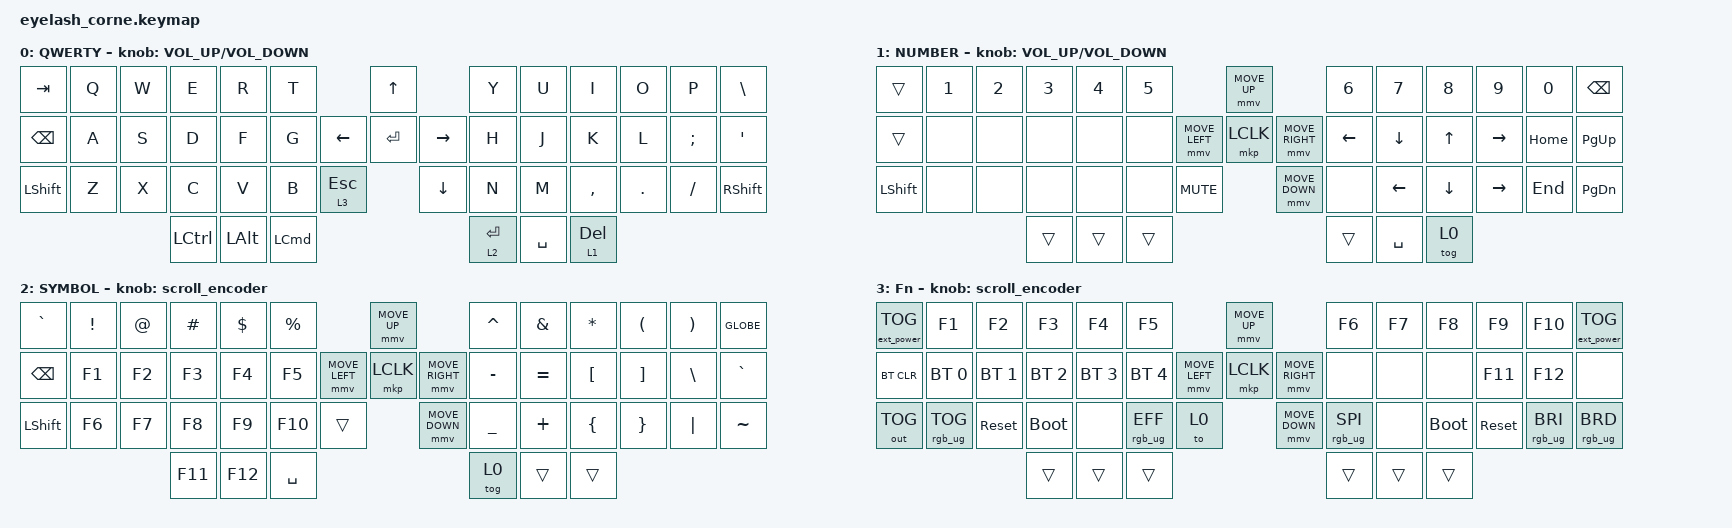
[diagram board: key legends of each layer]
#include <dt-bindings/zmk/mouse.h>
#include <input/processors.dtsi>
#include <behaviors.dtsi>
#include <dt-bindings/zmk/bt.h>
#include <dt-bindings/zmk/ext_power.h>
#include <dt-bindings/zmk/keys.h>
#include <dt-bindings/zmk/outputs.h>
#include <dt-bindings/zmk/pointing.h>
#include <dt-bindings/zmk/rgb.h>

/*

   &mmv_input_listener {
       input-processors = <&zip_xy_scaler 2 1>;
   };

   &msc_input_listener {
       input-processors = <&zip_xy_scaler 2 1>;
   };

 */

#define ZMK_MOUSE_DEFAULT_MOVE_VAL 1200  // 600
#define ZMK_MOUSE_DEFAULT_SCRL_VAL 20    // 10

/ {
    behaviors {
        td0: td0 {
            compatible = "zmk,behavior-tap-dance";
            display-name = "Shift/Caps Lock Tap Dance";
            #binding-cells = <0>;
            bindings = <&kp LEFT_SHIFT>, <&kp CAPS>;
        };

        bn: balanced_number {
            compatible = "zmk,behavior-hold-tap";
            #binding-cells = <2>;
            tapping-term-ms = <250>;
            quick-tap-ms = <0>;
            flavor = "balanced";
            bindings = <&kp>, <&kp>;
        };
    };

    rgb_encoder: rgb_encoder {
        compatible = "zmk,behavior-sensor-rotate";
        #sensor-binding-cells = <0>;
        bindings = <&rgb_ug RGB_BRI>, <&rgb_ug RGB_BRD>;
    };

    scroll_encoder: scroll_encoder {
        compatible = "zmk,behavior-sensor-rotate";
        #sensor-binding-cells = <0>;
        bindings = <&msc SCRL_DOWN>, <&msc SCRL_UP>;

        tap-ms = <30>;
    };

    behaviors {
    };

    keymap {
        compatible = "zmk,keymap";

        default_layer {
            display-name = "QWERTY";
            bindings = <
&kp TAB         &kp Q  &kp W  &kp E      &kp R         &kp T                                    &kp UP                &kp Y        &kp U      &kp I         &kp O    &kp P     &kp BACKSLASH
&kp BACKSPACE   &kp A  &kp S  &kp D      &kp F         &kp G                          &kp LEFT  &kp ENTER  &kp RIGHT  &kp H        &kp J      &kp K         &kp L    &kp SEMI  &kp SQT
&kp LEFT_SHIFT  &kp Z  &kp X  &kp C      &kp V         &kp B             &lt 3 ESC              &kp DOWN              &kp N        &kp M      &kp COMMA     &kp DOT  &kp FSLH  &kp RIGHT_SHIFT
                              &kp LCTRL  &kp LEFT_ALT  &kp LEFT_COMMAND                                               &lt 2 ENTER  &kp SPACE  &lt 1 DELETE
            >;

            sensor-bindings = <&inc_dec_kp C_VOLUME_UP C_VOLUME_DOWN>;
        };

        lower_layer {
            display-name = "NUMBER";
            bindings = <
&trans          &kp N1  &kp N2  &kp N3  &kp N4  &kp N5                                &mmv MOVE_UP                     &kp N6    &kp N7     &kp N8    &kp N9     &kp N0    &kp BSPC
&trans          &none   &none   &none   &none   &none                 &mmv MOVE_LEFT  &mkp LCLK       &mmv MOVE_RIGHT  &kp LEFT  &kp DOWN   &kp UP    &kp RIGHT  &kp HOME  &kp PG_UP
&kp LEFT_SHIFT  &none   &none   &none   &none   &none   &kp C_MUTE                    &mmv MOVE_DOWN                   &none     &kp LEFT   &kp DOWN  &kp RIGHT  &kp END   &kp PG_DN
                                &trans  &trans  &trans                                                                 &trans    &kp SPACE  &tog 0
            >;

            sensor-bindings = <&inc_dec_kp C_VOLUME_UP C_VOLUME_DOWN>;
        };

        raise_layer {
            display-name = "SYMBOL";
            bindings = <
&kp GRAVE       &kp EXCL  &kp AT  &kp HASH  &kp DLLR  &kp PRCNT                            &mmv MOVE_UP                     &kp CARET  &kp AMPS   &kp ASTRK  &kp LPAR  &kp RPAR  &kp GLOBE
&kp BACKSPACE   &kp F1    &kp F2  &kp F3    &kp F4    &kp F5               &mmv MOVE_LEFT  &mkp LCLK       &mmv MOVE_RIGHT  &kp MINUS  &kp EQUAL  &kp LBKT   &kp RBKT  &kp BSLH  &kp GRAVE
&kp LEFT_SHIFT  &kp F6    &kp F7  &kp F8    &kp F9    &kp F10    &trans                    &mmv MOVE_DOWN                   &kp UNDER  &kp PLUS   &kp LBRC   &kp RBRC  &kp PIPE  &kp TILDE
                                  &kp F11   &kp F12   &kp SPACE                                                             &tog 0     &trans     &trans
            >;

            sensor-bindings = <&scroll_encoder>;
        };

        layer_3 {
            display-name = "Fn";
            bindings = <
&ext_power EP_TOG  &kp F1           &kp F2        &kp F3        &kp F4        &kp F5                                    &mmv MOVE_UP                     &kp F6           &kp F7  &kp F8       &kp F9      &kp F10          &ext_power EP_TOG
&bt BT_CLR         &bt BT_SEL 0     &bt BT_SEL 1  &bt BT_SEL 2  &bt BT_SEL 3  &bt BT_SEL 4              &mmv MOVE_LEFT  &mkp LCLK       &mmv MOVE_RIGHT  &none            &none   &none        &kp F11     &kp F12          &none
&out OUT_TOG       &rgb_ug RGB_TOG  &sys_reset    &bootloader   &none         &rgb_ug RGB_EFF  &to 0                    &mmv MOVE_DOWN                   &rgb_ug RGB_SPI  &none   &bootloader  &sys_reset  &rgb_ug RGB_BRI  &rgb_ug RGB_BRD
                                                  &trans        &trans        &trans                                                                     &trans           &trans  &trans
            >;

            sensor-bindings = <&scroll_encoder>;
        };
    };
};
